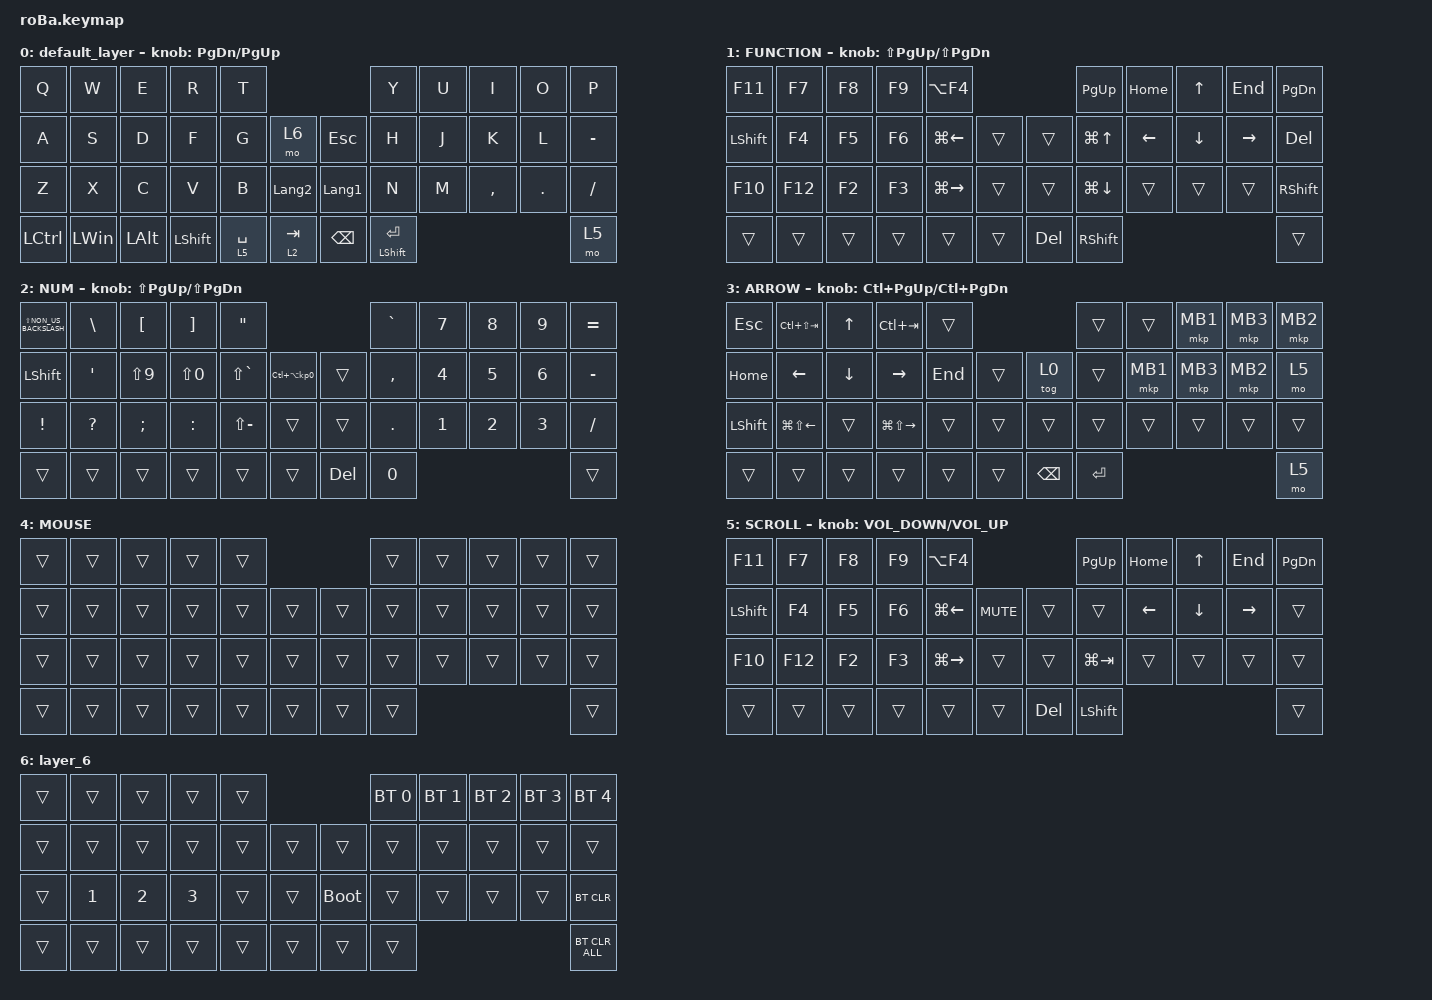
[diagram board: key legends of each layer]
#include <behaviors.dtsi>
#include <dt-bindings/zmk/bt.h>
#include <dt-bindings/zmk/keys.h>
#include <dt-bindings/zmk/pointing.h>

#define MOUSE 4
#define SCROLL 5
#define NUM 6

&mt {
    flavor = "balanced";
    quick-tap-ms = <0>;
};

/ {
    combos {
        compatible = "zmk,combos";

        mouse1 {
            bindings = <&mkp MB1>;
            key-positions = <18 19>;
        };

        mouse2 {
            bindings = <&mkp MB2>;
            key-positions = <19 20>;
        };

        mouse3 {
            bindings = <&mkp MB3>;
            key-positions = <18 19 20>;
        };

        L_boot {
            bindings = <&bootloader>;
            key-positions = <0 10>;
        };

        R_boot {
            bindings = <&bootloader>;
            key-positions = <9 21>;
        };

        macro {
            bindings = <&tog 3>;
            key-positions = <5 6 7>;
        };
    };

    macros {
        to_layer_0: to_layer_0 {
            compatible = "zmk,behavior-macro-one-param";
            #binding-cells = <1>;
            bindings = <&to 0 &macro_param_1to1 &kp MACRO_PLACEHOLDER>;
            label = "TO_LAYER_0";
        };
    };

    behaviors {
        lt_to_layer_0: lt_to_layer_0 {
            compatible = "zmk,behavior-hold-tap";
            label = "LAYER_TAP_TO_0";
            bindings = <&mo>, <&to_layer_0>;

            #binding-cells = <2>;
            tapping-term-ms = <200>;
        };
    };

    keymap {
        compatible = "zmk,keymap";

        default_layer {
            bindings = <
&kp Q             &kp W         &kp E         &kp R           &kp T                                            &kp Y                 &kp U  &kp I      &kp O    &kp P
&kp A             &kp S         &kp D         &kp F           &kp G        &mo 6               &kp ESCAPE      &kp H                 &kp J  &kp K      &kp L    &kp MINUS
&kp Z             &kp X         &kp C         &kp V           &kp B        &kp LANGUAGE_2      &kp LANGUAGE_1  &kp N                 &kp M  &kp COMMA  &kp DOT  &kp SLASH
&kp LEFT_CONTROL  &kp LEFT_WIN  &kp LEFT_ALT  &kp LEFT_SHIFT  &lt 5 SPACE  &lt 2 TAB           &kp BACKSPACE   &mt LEFT_SHIFT ENTER                             &mo 5
            >;

            sensor-bindings = <&inc_dec_kp PG_DN PG_UP>;
        };

        FUNCTION {
            bindings = <
&kp F11         &kp F7   &kp F8  &kp F9  &kp LA(F4)                                  &kp PG_UP         &kp HOME  &kp UP_ARROW  &kp END    &kp PG_DN
&kp LEFT_SHIFT  &kp F4   &kp F5  &kp F6  &kp LG(LEFT_ARROW)  &trans      &trans      &kp LG(UP_ARROW)  &kp LEFT  &kp DOWN      &kp RIGHT  &kp DEL
&kp F10         &kp F12  &kp F2  &kp F3  &kp LG(RIGHT)       &trans      &trans      &kp LG(DOWN)      &trans    &trans        &trans     &kp RSHIFT
&trans          &trans   &trans  &trans  &trans              &trans      &kp DELETE  &kp RIGHT_SHIFT                                      &trans
            >;

            sensor-bindings = <&inc_dec_kp LS(PG_UP) LS(PG_DN)>;
        };

        NUM {
            bindings = <
&kp LS(NON_US_BACKSLASH)  &kp BACKSLASH  &kp LEFT_BRACKET  &kp RIGHT_BRACKET  &kp DOUBLE_QUOTES                                        &kp GRAVE     &kp N7        &kp N8        &kp N9        &kp EQUAL
&kp LEFT_SHIFT            &kp SQT        &kp LS(N9)        &kp LS(N0)         &kp LS(GRAVE)      &kp LC(LA(KP_NUMBER_0))      &trans   &kp COMMA     &kp NUMBER_4  &kp N5        &kp NUMBER_6  &kp MINUS
&kp EXCLAMATION           &kp QUESTION   &kp SEMICOLON     &kp COLON          &kp LS(MINUS)      &trans                       &trans   &kp PERIOD    &kp NUMBER_1  &kp NUMBER_2  &kp NUMBER_3  &kp SLASH
&trans                    &trans         &trans            &trans             &trans             &trans                       &kp DEL  &kp NUMBER_0                                            &trans
            >;

            sensor-bindings = <&inc_dec_kp LS(PG_UP) LS(PG_DN)>;
        };

        ARROW {
            bindings = <
&kp ESCAPE      &kp LC(LS(TAB))         &kp UP_ARROW    &kp LC(TAB)              &trans                              &trans     &trans    &mkp MB1  &mkp MB3  &mkp MB2
&kp HOME        &kp LEFT_ARROW          &kp DOWN_ARROW  &kp RIGHT_ARROW          &kp END  &trans      &tog 0         &trans     &mkp MB1  &mkp MB3  &mkp MB2  &mo 5
&kp LEFT_SHIFT  &kp LG(LS(LEFT_ARROW))  &trans          &kp LG(LS(RIGHT_ARROW))  &trans   &trans      &trans         &trans     &trans    &trans    &trans    &trans
&trans          &trans                  &trans          &trans                   &trans   &trans      &kp BACKSPACE  &kp ENTER                                &mo 5
            >;

            sensor-bindings = <&inc_dec_kp LC(PAGE_UP) LC(PAGE_DOWN)>;
        };

        MOUSE {
            bindings = <
&trans  &trans  &trans  &trans  &trans                      &trans  &trans  &trans  &trans  &trans
&trans  &trans  &trans  &trans  &trans  &trans      &trans  &trans  &trans  &trans  &trans  &trans
&trans  &trans  &trans  &trans  &trans  &trans      &trans  &trans  &trans  &trans  &trans  &trans
&trans  &trans  &trans  &trans  &trans  &trans      &trans  &trans                          &trans
            >;
        };

        SCROLL {
            bindings = <
&kp F11         &kp F7   &kp F8  &kp F9  &kp LA(F4)                                    &kp PG_UP       &kp HOME        &kp UP_ARROW    &kp END          &kp PAGE_DOWN
&kp LEFT_SHIFT  &kp F4   &kp F5  &kp F6  &kp LG(LEFT_ARROW)   &kp C_MUTE      &trans   &trans          &kp LEFT_ARROW  &kp DOWN_ARROW  &kp RIGHT_ARROW  &trans
&kp F10         &kp F12  &kp F2  &kp F3  &kp LG(RIGHT_ARROW)  &trans          &trans   &kp LG(TAB)     &trans          &trans          &trans           &trans
&trans          &trans   &trans  &trans  &trans               &trans          &kp DEL  &kp LEFT_SHIFT                                                   &trans
            >;

            sensor-bindings = <&inc_dec_kp C_VOLUME_DOWN C_VOLUME_UP>;
        };

        layer_6 {
            bindings = <
&trans  &trans        &trans        &trans        &trans                           &bt BT_SEL 0  &bt BT_SEL 1  &bt BT_SEL 2  &bt BT_SEL 3  &bt BT_SEL 4
&trans  &trans        &trans        &trans        &trans  &trans      &trans       &trans        &trans        &trans        &trans        &trans
&trans  &kp NUMBER_1  &kp NUMBER_2  &kp NUMBER_3  &trans  &trans      &bootloader  &trans        &trans        &trans        &trans        &bt BT_CLR
&trans  &trans        &trans        &trans        &trans  &trans      &trans       &trans                                                  &bt BT_CLR_ALL
            >;
        };
    };
};
